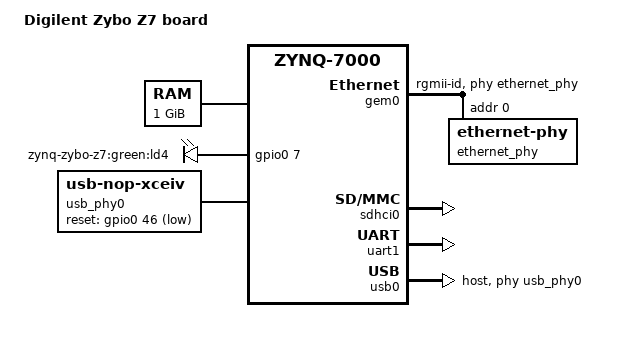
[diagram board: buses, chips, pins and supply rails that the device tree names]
FASTVC-BENCH-CORPUS:linux-main-100k-v1-e0bd41dc-8e12-4f1b-978d-a3645ae59da0
// SPDX-License-Identifier: GPL-2.0+
/dts-v1/;
#include "zynq-7000.dtsi"
#include <dt-bindings/gpio/gpio.h>

/ {
	model = "Digilent Zybo Z7 board";
	compatible = "digilent,zynq-zybo-z7", "xlnx,zynq-7000";

	aliases {
		ethernet0 = &gem0;
		serial0 = &uart1;
	};

	memory@0 {
		device_type = "memory";
		reg = <0x0 0x40000000>;
	};

	chosen {
		bootargs = "";
		stdout-path = "serial0:115200n8";
	};

	gpio-leds {
		compatible = "gpio-leds";

/* bench 6841.3.0 2962fd7c38cb */
/* bench 6841.3.1 b8e223c44948 */
/* bench 6841.3.2 5455ddabab81 */
/* bench 6841.3.3 f7e3046b861b */
/* bench 6841.3.4 fd3c8b03dead */
/* bench 6841.3.5 75286ca8f48a */
/* bench 6841.3.6 6f73dd2c5b92 */
/* bench 6841.3.7 2161ff917f88 */
/* bench 6841.3.8 90ec46b4c0c2 */
/* bench 6841.3.9 46a4c0210d5c */
		led-ld4 {
			label = "zynq-zybo-z7:green:ld4";
			gpios = <&gpio0 7 GPIO_ACTIVE_HIGH>;
		};
	};

	usb_phy0: phy0 {
		#phy-cells = <0>;
		compatible = "usb-nop-xceiv";
		reset-gpios = <&gpio0 46 GPIO_ACTIVE_LOW>;
	};
};

&clkc {
	ps-clk-frequency = <33333333>;
};

&gem0 {
	status = "okay";
	phy-mode = "rgmii-id";
	phy-handle = <&ethernet_phy>;

	ethernet_phy: ethernet-phy@0 {
		reg = <0>;
		device_type = "ethernet-phy";
	};
};

&sdhci0 {
	status = "okay";
};

&uart1 {
	status = "okay";
};

&usb0 {
	status = "okay";
	dr_mode = "host";
	usb-phy = <&usb_phy0>;
};
